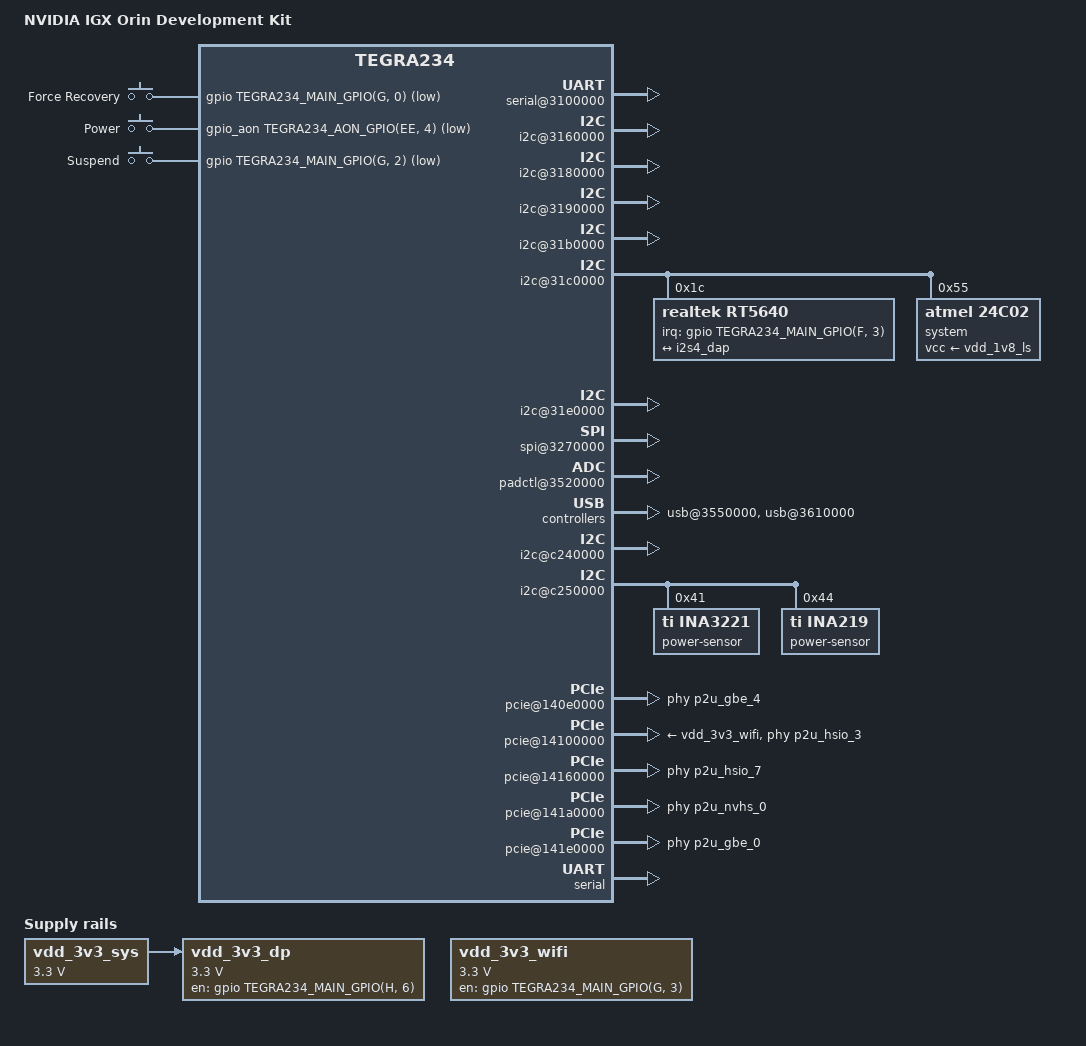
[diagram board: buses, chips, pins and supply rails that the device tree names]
// SPDX-License-Identifier: GPL-2.0
/dts-v1/;

#include <dt-bindings/input/linux-event-codes.h>
#include <dt-bindings/input/gpio-keys.h>
#include <dt-bindings/sound/rt5640.h>
#include "tegra234-p3701-0008.dtsi"

/ {
	model = "NVIDIA IGX Orin Development Kit";
	compatible = "nvidia,p3740-0002+p3701-0008", "nvidia,p3701-0008", "nvidia,tegra234";

	aliases {
		serial0 = &tcu;
		serial1 = &uarta;
	};

	chosen {
		stdout-path = "serial0:115200n8";
	};

	bus@0 {
		aconnect@2900000 {
			ahub@2900800 {
				i2s@2901300 {
					ports {
						port@1 {
							endpoint {
								dai-format = "i2s";
								remote-endpoint = <&rt5640_ep>;
							};
						};
					};
				};

				i2s@2901500 {
					ports {
						port@1 {
							endpoint {
								bitclock-master;
								frame-master;
							};
						};
					};
				};
			};
		};

		serial@3100000 {
			compatible = "nvidia,tegra194-hsuart";
			reset-names = "serial";
			status = "okay";
		};

		i2c@3160000 {
			status = "okay";
		};

		i2c@3180000 {
			status = "okay";
		};

		i2c@3190000 {
			status = "okay";
		};

		i2c@31b0000 {
			status = "okay";
		};

		i2c@31c0000 {
			status = "okay";

			rt5640: audio-codec@1c {
				compatible = "realtek,rt5640";
				reg = <0x1c>;
				interrupt-parent = <&gpio>;
				interrupts = <TEGRA234_MAIN_GPIO(F, 3) GPIO_ACTIVE_HIGH>;
				clocks = <&bpmp TEGRA234_CLK_AUD_MCLK>;
				clock-names = "mclk";

				realtek,dmic1-data-pin = <RT5640_DMIC1_DATA_PIN_NONE>;
				realtek,dmic2-data-pin = <RT5640_DMIC2_DATA_PIN_NONE>;
				realtek,jack-detect-source = <RT5640_JD_SRC_HDA_HEADER>;

				sound-name-prefix = "CVB-RT";

				port {
					rt5640_ep: endpoint {
						remote-endpoint = <&i2s4_dap>;
						mclk-fs = <256>;
					};
				};
			};

			/* carrier board ID EEPROM */
			eeprom@55 {
				compatible = "atmel,24c02";
				reg = <0x55>;

				label = "system";
				vcc-supply = <&vdd_1v8_ls>;
				address-width = <8>;
				pagesize = <8>;
				size = <256>;
				read-only;
			};
		};

		i2c@31e0000 {
			status = "okay";
		};

		spi@3270000 {
			status = "okay";
		};

		hda@3510000 {
			nvidia,model = "NVIDIA IGX Orin HDA";
			status = "okay";
		};

		padctl@3520000 {
			status = "okay";

			pads {
				usb2 {
					lanes {
						usb2-0 {
							nvidia,function = "xusb";
							status = "okay";
						};

						usb2-1 {
							nvidia,function = "xusb";
							status = "okay";
						};

						usb2-2 {
							nvidia,function = "xusb";
							status = "okay";
						};

						usb2-3 {
							nvidia,function = "xusb";
							status = "okay";
						};
					};
				};

				usb3 {
					lanes {
						usb3-0 {
							nvidia,function = "xusb";
							status = "okay";
						};

						usb3-1 {
							nvidia,function = "xusb";
							status = "okay";
						};

						usb3-2 {
							nvidia,function = "xusb";
							status = "okay";
						};
					};
				};
			};

			ports {
				usb2-0 {
					mode = "otg";
					usb-role-switch;
					status = "okay";
				};

				usb2-1 {
					mode = "host";
					status = "okay";
				};

				usb2-2 {
					mode = "host";
					status = "okay";
				};

				usb2-3 {
					mode = "host";
					status = "okay";
				};

				usb3-0 {
					nvidia,usb2-companion = <2>;
					status = "okay";
				};

				usb3-1 {
					nvidia,usb2-companion = <0>;
					status = "okay";
				};

				usb3-2 {
					nvidia,usb2-companion = <1>;
					status = "okay";
				};
			};
		};

		usb@3550000 {
			status = "okay";

			phys = <&{/bus@0/padctl@3520000/pads/usb2/lanes/usb2-0}>,
				<&{/bus@0/padctl@3520000/pads/usb3/lanes/usb3-1}>;
			phy-names = "usb2-0", "usb3-0";
		};

		usb@3610000 {
			status = "okay";

			phys =	<&{/bus@0/padctl@3520000/pads/usb2/lanes/usb2-0}>,
				<&{/bus@0/padctl@3520000/pads/usb2/lanes/usb2-1}>,
				<&{/bus@0/padctl@3520000/pads/usb2/lanes/usb2-2}>,
				<&{/bus@0/padctl@3520000/pads/usb2/lanes/usb2-3}>,
				<&{/bus@0/padctl@3520000/pads/usb3/lanes/usb3-0}>,
				<&{/bus@0/padctl@3520000/pads/usb3/lanes/usb3-1}>,
				<&{/bus@0/padctl@3520000/pads/usb3/lanes/usb3-2}>;
			phy-names = "usb2-0", "usb2-1", "usb2-2", "usb2-3",
				"usb3-0", "usb3-1", "usb3-2";
		};

		fuse@3810000 {
			status = "okay";
		};

		i2c@c240000 {
			status = "okay";
		};

		i2c@c250000 {
			status = "okay";

			power-sensor@41 {
				compatible = "ti,ina3221";
				reg = <0x41>;
				#address-cells = <1>;
				#size-cells = <0>;

				input@0 {
					reg = <0x0>;
					label = "CVB_ATX_12V";
					shunt-resistor-micro-ohms = <2000>;
				};

				input@1 {
					reg = <0x1>;
					label = "CVB_ATX_3V3";
					shunt-resistor-micro-ohms = <2000>;
				};

				input@2 {
					reg = <0x2>;
					label = "CVB_ATX_5V";
					shunt-resistor-micro-ohms = <2000>;
				};
			};

			power-sensor@44 {
				compatible = "ti,ina219";
				reg = <0x44>;
				shunt-resistor = <2000>;
			};
		};

		host1x@13e00000 {
			nvdec@15480000 {
				status = "okay";
			};
		};

		pcie@140e0000 {
			status = "okay";
			vddio-pex-ctl-supply = <&vdd_1v8_ls>;
			phys = <&p2u_gbe_4>, <&p2u_gbe_5>;
			phy-names = "p2u-0", "p2u-1";
		};

		pcie@14100000 {
			status = "okay";
			vddio-pex-ctl-supply = <&vdd_1v8_ao>;
			vpcie3v3-supply = <&vdd_3v3_wifi>;
			phys = <&p2u_hsio_3>;
			phy-names = "p2u-0";
		};

		pcie@14160000 {
			status = "okay";
			vddio-pex-ctl-supply = <&vdd_1v8_ao>;
			phys = <&p2u_hsio_7>, <&p2u_hsio_6>, <&p2u_hsio_5>,
			       <&p2u_hsio_4>;
			phy-names = "p2u-0", "p2u-1", "p2u-2", "p2u-3";
		};

		pcie@141a0000 {
			status = "okay";
			vddio-pex-ctl-supply = <&vdd_1v8_ls>;
			phys = <&p2u_nvhs_0>, <&p2u_nvhs_1>, <&p2u_nvhs_2>,
				<&p2u_nvhs_3>, <&p2u_nvhs_4>, <&p2u_nvhs_5>,
				<&p2u_nvhs_6>, <&p2u_nvhs_7>;
			phy-names = "p2u-0", "p2u-1", "p2u-2", "p2u-3", "p2u-4",
				    "p2u-5", "p2u-6", "p2u-7";
		};

		pcie@141e0000 {
			status = "okay";
			vddio-pex-ctl-supply = <&vdd_1v8_ls>;
			phys = <&p2u_gbe_0>, <&p2u_gbe_1>;
			phy-names = "p2u-0", "p2u-1";
		};
	};

	gpio-keys {
		compatible = "gpio-keys";
		status = "okay";

		key-force-recovery {
			label = "Force Recovery";
			gpios = <&gpio TEGRA234_MAIN_GPIO(G, 0) GPIO_ACTIVE_LOW>;
			linux,input-type = <EV_KEY>;
			linux,code = <BTN_1>;
		};

		key-power {
			label = "Power";
			gpios = <&gpio_aon TEGRA234_AON_GPIO(EE, 4) GPIO_ACTIVE_LOW>;
			linux,input-type = <EV_KEY>;
			linux,code = <KEY_POWER>;
			wakeup-event-action = <EV_ACT_ASSERTED>;
			wakeup-source;
		};

		key-suspend {
			label = "Suspend";
			gpios = <&gpio TEGRA234_MAIN_GPIO(G, 2) GPIO_ACTIVE_LOW>;
			linux,input-type = <EV_KEY>;
			linux,code = <KEY_SLEEP>;
		};
	};

	serial {
		status = "okay";
	};

	sound {
		status = "okay";

		compatible = "nvidia,tegra186-audio-graph-card";

		dais = /* ADMAIF (FE) Ports */
		       <&admaif0_port>, <&admaif1_port>, <&admaif2_port>, <&admaif3_port>,
		       <&admaif4_port>, <&admaif5_port>, <&admaif6_port>, <&admaif7_port>,
		       <&admaif8_port>, <&admaif9_port>, <&admaif10_port>, <&admaif11_port>,
		       <&admaif12_port>, <&admaif13_port>, <&admaif14_port>, <&admaif15_port>,
		       <&admaif16_port>, <&admaif17_port>, <&admaif18_port>, <&admaif19_port>,
		       /* XBAR Ports */
		       <&xbar_i2s1_port>, <&xbar_i2s2_port>, <&xbar_i2s4_port>,
		       <&xbar_i2s6_port>, <&xbar_dmic3_port>,
		       <&xbar_sfc1_in_port>, <&xbar_sfc2_in_port>,
		       <&xbar_sfc3_in_port>, <&xbar_sfc4_in_port>,
		       <&xbar_mvc1_in_port>, <&xbar_mvc2_in_port>,
		       <&xbar_amx1_in1_port>, <&xbar_amx1_in2_port>,
		       <&xbar_amx1_in3_port>, <&xbar_amx1_in4_port>,
		       <&xbar_amx2_in1_port>, <&xbar_amx2_in2_port>,
		       <&xbar_amx2_in3_port>, <&xbar_amx2_in4_port>,
		       <&xbar_amx3_in1_port>, <&xbar_amx3_in2_port>,
		       <&xbar_amx3_in3_port>, <&xbar_amx3_in4_port>,
		       <&xbar_amx4_in1_port>, <&xbar_amx4_in2_port>,
		       <&xbar_amx4_in3_port>, <&xbar_amx4_in4_port>,
		       <&xbar_adx1_in_port>, <&xbar_adx2_in_port>,
		       <&xbar_adx3_in_port>, <&xbar_adx4_in_port>,
		       <&xbar_mix_in1_port>, <&xbar_mix_in2_port>,
		       <&xbar_mix_in3_port>, <&xbar_mix_in4_port>,
		       <&xbar_mix_in5_port>, <&xbar_mix_in6_port>,
		       <&xbar_mix_in7_port>, <&xbar_mix_in8_port>,
		       <&xbar_mix_in9_port>, <&xbar_mix_in10_port>,
		       <&xbar_asrc_in1_port>, <&xbar_asrc_in2_port>,
		       <&xbar_asrc_in3_port>, <&xbar_asrc_in4_port>,
		       <&xbar_asrc_in5_port>, <&xbar_asrc_in6_port>,
		       <&xbar_asrc_in7_port>,
		       <&xbar_ope1_in_port>,
		       /* HW accelerators */
		       <&sfc1_out_port>, <&sfc2_out_port>,
		       <&sfc3_out_port>, <&sfc4_out_port>,
		       <&mvc1_out_port>, <&mvc2_out_port>,
		       <&amx1_out_port>, <&amx2_out_port>,
		       <&amx3_out_port>, <&amx4_out_port>,
		       <&adx1_out1_port>, <&adx1_out2_port>,
		       <&adx1_out3_port>, <&adx1_out4_port>,
		       <&adx2_out1_port>, <&adx2_out2_port>,
		       <&adx2_out3_port>, <&adx2_out4_port>,
		       <&adx3_out1_port>, <&adx3_out2_port>,
		       <&adx3_out3_port>, <&adx3_out4_port>,
		       <&adx4_out1_port>, <&adx4_out2_port>,
		       <&adx4_out3_port>, <&adx4_out4_port>,
		       <&mix_out1_port>, <&mix_out2_port>, <&mix_out3_port>,
		       <&mix_out4_port>, <&mix_out5_port>,
		       <&asrc_out1_port>, <&asrc_out2_port>, <&asrc_out3_port>,
		       <&asrc_out4_port>, <&asrc_out5_port>, <&asrc_out6_port>,
		       <&ope1_out_port>,
		       /* BE I/O Ports */
		       <&i2s1_port>, <&i2s2_port>, <&i2s4_port>, <&i2s6_port>,
		       <&dmic3_port>;

		label = "NVIDIA IGX Orin APE";

		widgets = "Microphone",	"CVB-RT MIC Jack",
			  "Microphone",	"CVB-RT MIC",
			  "Headphone",	"CVB-RT HP Jack",
			  "Speaker",	"CVB-RT SPK";

		routing = /* I2S4 <-> RT5640 */
			  "CVB-RT AIF1 Playback",	"I2S4 DAP-Playback",
			  "I2S4 DAP-Capture",		"CVB-RT AIF1 Capture",
			  /* RT5640 codec controls */
			  "CVB-RT HP Jack",		"CVB-RT HPOL",
			  "CVB-RT HP Jack",		"CVB-RT HPOR",
			  "CVB-RT IN1P",		"CVB-RT MIC Jack",
			  "CVB-RT IN2P",		"CVB-RT MIC Jack",
			  "CVB-RT IN2N",		"CVB-RT MIC Jack",
			  "CVB-RT IN3P",		"CVB-RT MIC Jack",
			  "CVB-RT SPK",			"CVB-RT SPOLP",
			  "CVB-RT SPK",			"CVB-RT SPORP",
			  "CVB-RT SPK",			"CVB-RT LOUTL",
			  "CVB-RT SPK",			"CVB-RT LOUTR",
			  "CVB-RT DMIC1",		"CVB-RT MIC",
			  "CVB-RT DMIC2",		"CVB-RT MIC";
	};

	vdd_3v3_dp: regulator-vdd-3v3-dp {
		compatible = "regulator-fixed";
		regulator-name = "VDD_3V3_DP";
		regulator-min-microvolt = <3300000>;
		regulator-max-microvolt = <3300000>;
		vin-supply = <&vdd_3v3_sys>;
		gpio = <&gpio TEGRA234_MAIN_GPIO(H, 6) 0>;
		enable-active-high;
		regulator-always-on;
	};

	vdd_3v3_sys: regulator-vdd-3v3-sys {
		compatible = "regulator-fixed";
		regulator-name = "VDD_3V3_SYS";
		regulator-min-microvolt = <3300000>;
		regulator-max-microvolt = <3300000>;
	};

	vdd_3v3_wifi: regulator-vdd-3v3-wifi {
		compatible = "regulator-fixed";
		regulator-name = "VDD_3V3_WIFI";
		regulator-min-microvolt = <3300000>;
		regulator-max-microvolt = <3300000>;
		gpio = <&gpio TEGRA234_MAIN_GPIO(G, 3) GPIO_ACTIVE_HIGH>;
		regulator-boot-on;
		enable-active-high;
	};
};
